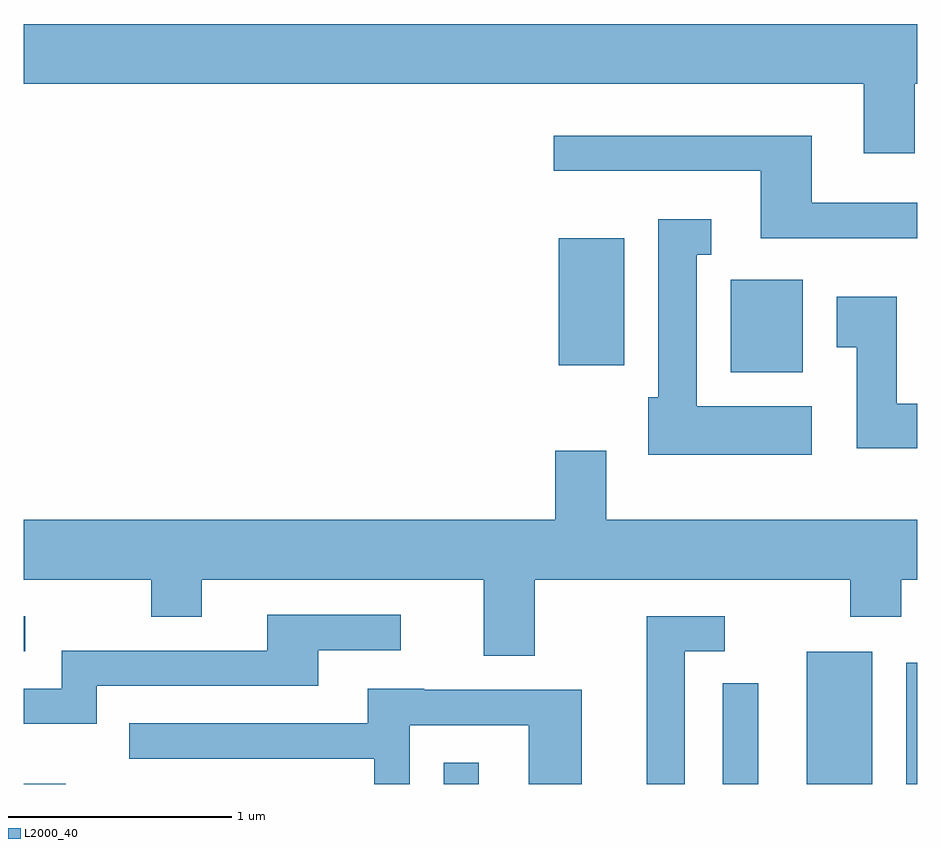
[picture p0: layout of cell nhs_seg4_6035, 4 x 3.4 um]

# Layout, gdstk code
import gdstk
lib = gdstk.Library(unit=1e-6, precision=1e-09)
def R(c, l, rs):  # rectangles x0, y0, x1, y1
    for r in rs: c.add(gdstk.rectangle(r[:2], r[2:], *l))
def P(c, l, *ps):  # polygons
    for p in ps: c.add(gdstk.Polygon(p, *l))
L2000_40 = (2000, 40)

nhs_seg4_6035 = lib.new_cell('nhs_seg4_6035')
R(nhs_seg4_6035, L2000_40, [(361.611,1355.982,361.799,1355.984), (363.491,1355.982,363.649,1356.078), (364.741,1355.982,364.899,1356.433), (365.116,1355.982,365.409,1356.574), (365.561,1355.982,365.611,1356.524), (361.611,1356.576,361.618,1356.734), (364.776,1357.826,365.099,1358.239), (364.006,1357.856,364.299,1358.424)])
P(nhs_seg4_6035, L2000_40, [(365.599,1359.116),(365.611,1359.116),(365.611,1359.384),(361.611,1359.384),(361.611,1359.116),(365.371,1359.116),(365.371,1358.806),(365.599,1358.806)],
  [(365.611,1358.584),(365.139,1358.584),(365.139,1358.884),(363.983,1358.884),(363.983,1358.726),(364.911,1358.726),(364.911,1358.426),(365.611,1358.426)],
  [(365.139,1357.674),(364.624,1357.674),(364.624,1358.351),(364.688,1358.351),(364.688,1358.509),(364.451,1358.509),(364.451,1357.714),(364.406,1357.714),(364.406,1357.456),(365.139,1357.456)],
  [(365.611,1357.684),(365.519,1357.684),(365.519,1358.164),(365.251,1358.164),(365.251,1357.936),(365.341,1357.936),(365.341,1357.486),(365.611,1357.486)],
  [(363.899,1356.896),(365.311,1356.896),(365.311,1356.731),(365.539,1356.731),(365.539,1356.896),(365.611,1356.896),(365.611,1357.164),(364.219,1357.164),(364.219,1357.474),(363.991,1357.474),(363.991,1357.164),(361.611,1357.164),(361.611,1356.896),(362.181,1356.896),(362.181,1356.731),(362.409,1356.731),(362.409,1356.896),(363.671,1356.896),(363.671,1356.556),(363.899,1356.556)],
  [(361.939,1356.421),(362.929,1356.421),(362.929,1356.581),(363.298,1356.581),(363.298,1356.739),(362.701,1356.739),(362.701,1356.579),(361.781,1356.579),(361.781,1356.409),(361.611,1356.409),(361.611,1356.251),(361.939,1356.251)],
  [(364.569,1356.576),(364.748,1356.576),(364.748,1356.734),(364.401,1356.734),(364.401,1355.982),(364.569,1355.982)],
  [(363.339,1356.246),(363.871,1356.246),(363.871,1355.982),(364.109,1355.982),(364.109,1356.404),(363.405,1356.404),(363.405,1356.409),(363.151,1356.409),(363.151,1356.254),(362.083,1356.254),(362.083,1356.096),(363.181,1356.096),(363.181,1355.982),(363.339,1355.982)])

lib.write_gds('nhs_seg4_6035.gds')
